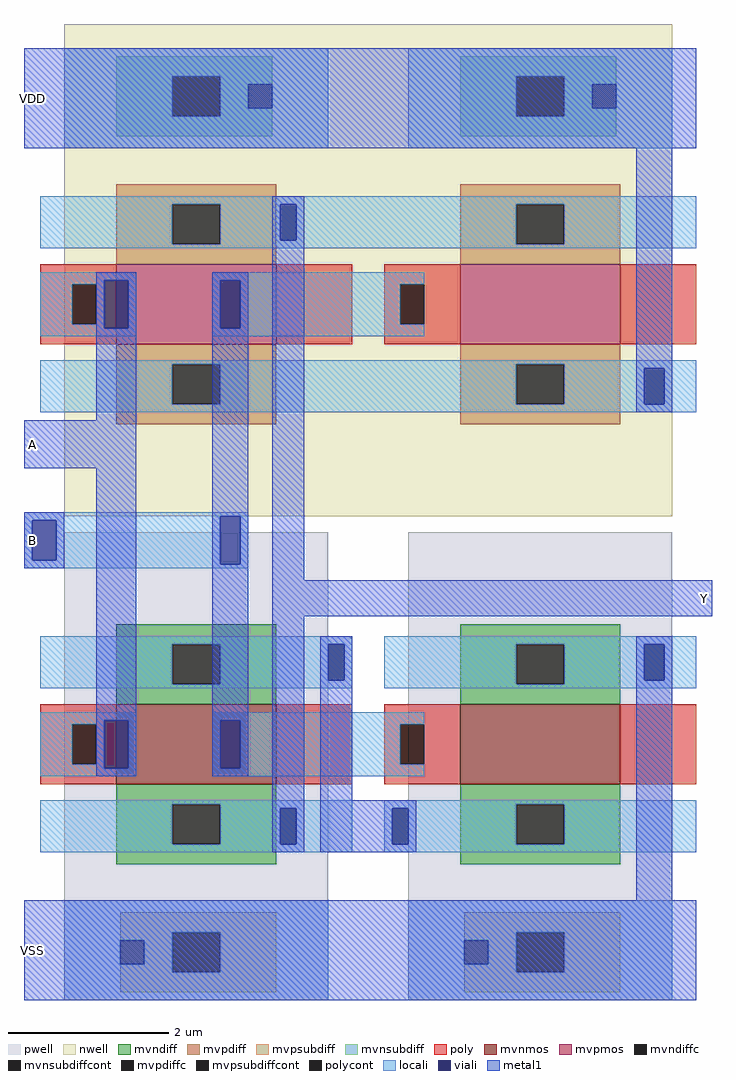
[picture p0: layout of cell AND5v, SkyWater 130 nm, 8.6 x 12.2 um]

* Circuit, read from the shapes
.subckt AND5v A B Y VDD VSS
XM1 5v_nfet_1_2_1/D A Y VSS sky130_fd_pr__nfet_g5v0d10v5 w=2 l=1
XM2 VSS B 5v_nfet_1_2_1/D VSS sky130_fd_pr__nfet_g5v0d10v5 w=2 l=1
XM3 Y A VDD VDD sky130_fd_pr__pfet_g5v0d10v5 w=2 l=1
XM4 Y B VDD VDD sky130_fd_pr__pfet_g5v0d10v5 w=2 l=1
.ends

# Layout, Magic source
magic
tech sky130A
<< nwell >>
rect 30 605 790 1220
<< polycont >>
rect 40 845 70 895
rect 450 845 480 895
rect 40 295 70 345
rect 450 295 480 345
<< locali >>
rect 390 940 430 1005
rect 0 900 120 910
rect 0 895 80 900
rect 0 845 40 895
rect 70 845 80 895
rect 0 840 80 845
rect 110 840 120 900
rect 0 830 120 840
rect 215 900 480 910
rect 215 840 225 900
rect 250 895 480 900
rect 250 845 450 895
rect 250 840 480 845
rect 215 830 480 840
rect 390 735 430 800
rect -20 605 260 610
rect -20 600 225 605
rect -20 550 -10 600
rect 20 550 225 600
rect -20 545 225 550
rect 250 545 260 605
rect -20 540 260 545
rect 0 350 120 360
rect 0 345 80 350
rect 0 295 40 345
rect 70 295 80 345
rect 0 290 80 295
rect 110 290 120 350
rect 0 280 120 290
rect 215 350 480 360
rect 215 290 225 350
rect 250 345 480 350
rect 250 295 450 345
rect 250 290 480 295
rect 215 280 480 290
<< viali >>
rect 300 950 320 995
rect 80 840 110 900
rect 225 840 250 900
rect 755 745 780 790
rect -10 550 20 600
rect 225 545 250 605
rect 360 400 380 445
rect 755 400 780 445
rect 80 290 110 350
rect 225 290 250 350
rect 300 195 320 240
rect 440 195 460 240
<< metal1 >>
rect -20 1065 820 1190
rect 290 995 330 1005
rect 290 950 300 995
rect 320 950 330 995
rect 70 900 120 910
rect 70 840 80 900
rect 110 840 120 900
rect 70 725 120 840
rect -20 665 120 725
rect -20 600 30 610
rect -20 550 -10 600
rect 20 550 30 600
rect -20 540 30 550
rect 70 350 120 665
rect 70 290 80 350
rect 110 290 120 350
rect 70 280 120 290
rect 215 900 260 910
rect 215 840 225 900
rect 250 840 260 900
rect 215 605 260 840
rect 215 545 225 605
rect 250 545 260 605
rect 215 350 260 545
rect 215 290 225 350
rect 250 290 260 350
rect 215 280 260 290
rect 290 525 330 950
rect 745 790 790 1065
rect 745 745 755 790
rect 780 745 790 790
rect 745 735 790 745
rect 290 480 840 525
rect 290 240 330 480
rect 290 195 300 240
rect 320 195 330 240
rect 290 185 330 195
rect 350 445 390 455
rect 350 400 360 445
rect 380 400 390 445
rect 350 250 390 400
rect 745 445 790 455
rect 745 400 755 445
rect 780 400 790 445
rect 350 240 470 250
rect 350 195 440 240
rect 460 195 470 240
rect 350 185 470 195
rect 745 125 790 400
rect -20 0 820 125
use 5v_nfet_1_2  5v_nfet_1_2_0
transform 0 1 95 -1 0 370
box -215 -95 370 295
use 5v_nfet_1_2  5v_nfet_1_2_1
transform 0 1 525 -1 0 370
box -215 -95 370 295
use 5v_pfet_1_2  5v_pfet_1_2_0
transform 0 -1 295 1 0 820
box -215 -95 400 295
use 5v_pfet_1_2  5v_pfet_1_2_1
transform 0 -1 725 1 0 820
box -215 -95 400 295
<< labels >>
rlabel metal1 -20 665 0 725 7 A
port 1 w
rlabel metal1 -20 540 0 610 7 B
port 2 w
rlabel metal1 820 480 840 525 3 Y
port 3 e
rlabel metal1 -20 1065 0 1190 7 VDD
port 4 w
rlabel metal1 -20 0 0 125 7 VSS
port 5 w
<< end >>

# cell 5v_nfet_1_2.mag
magic
tech sky130A
<< pwell >>
rect -215 -65 370 265
<< mvnmos >>
rect 0 0 100 200
<< mvndiff >>
rect -100 130 0 200
rect -100 70 -75 130
rect -25 70 0 130
rect -100 0 0 70
rect 100 130 200 200
rect 100 70 125 130
rect 175 70 200 130
rect 100 0 200 70
<< mvndiffc >>
rect -75 70 -25 130
rect 125 70 175 130
<< mvpsubdiff >>
rect 260 130 360 200
rect 260 70 285 130
rect 335 70 360 130
rect 260 5 360 70
<< mvpsubdiffcont >>
rect 285 70 335 130
<< poly >>
rect 0 200 100 295
rect 0 -95 100 0
<< locali >>
rect -85 130 -20 295
rect -85 70 -75 130
rect -25 70 -20 130
rect -85 -95 -20 70
rect 120 130 185 295
rect 120 70 125 130
rect 175 70 185 130
rect 120 -95 185 70
rect 245 130 370 265
rect 245 70 285 130
rect 335 70 370 130
rect 245 35 370 70
rect 245 5 295 35
rect 325 5 370 35
rect 245 -65 370 5
<< viali >>
rect 295 5 325 35
<< metal1 >>
rect 245 35 370 295
rect 245 5 295 35
rect 325 5 370 35
rect 245 -95 370 5
<< labels >>
rlabel locali -55 260 -55 260 5 S
port 4 s
rlabel poly 55 260 55 260 5 G
port 3 s
rlabel locali 155 260 155 260 5 D
port 2 s
rlabel metal1 320 260 320 260 5 B
port 1 s
<< end >>

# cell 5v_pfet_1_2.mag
magic
tech sky130A
<< nwell >>
rect -215 -65 370 265
<< mvpmos >>
rect 0 0 100 200
<< mvpdiff >>
rect -100 130 0 200
rect -100 70 -75 130
rect -25 70 0 130
rect -100 0 0 70
rect 100 130 200 200
rect 100 70 125 130
rect 175 70 200 130
rect 100 0 200 70
<< mvpdiffc >>
rect -75 70 -25 130
rect 125 70 175 130
<< mvnsubdiff >>
rect 260 130 360 200
rect 260 70 285 130
rect 335 70 360 130
rect 260 5 360 70
<< mvnsubdiffcont >>
rect 285 70 335 130
<< poly >>
rect 0 200 100 295
rect 0 -95 100 0
<< locali >>
rect -85 130 -20 295
rect -85 70 -75 130
rect -25 70 -20 130
rect -85 -95 -20 70
rect 120 130 185 295
rect 120 70 125 130
rect 175 70 185 130
rect 120 -95 185 70
rect 245 130 370 265
rect 245 70 285 130
rect 335 70 370 130
rect 245 35 370 70
rect 245 5 295 35
rect 325 5 370 35
rect 245 -65 370 5
<< viali >>
rect 295 5 325 35
<< metal1 >>
rect 245 35 370 295
rect 245 5 295 35
rect 325 5 370 35
rect 245 -95 370 5
<< labels >>
rlabel locali -55 260 -55 260 5 S
port 4 s
rlabel poly 55 260 55 260 5 G
port 3 s
rlabel locali 155 260 155 260 5 D
port 2 s
rlabel metal1 320 260 320 260 5 B
port 1 s
<< end >>
